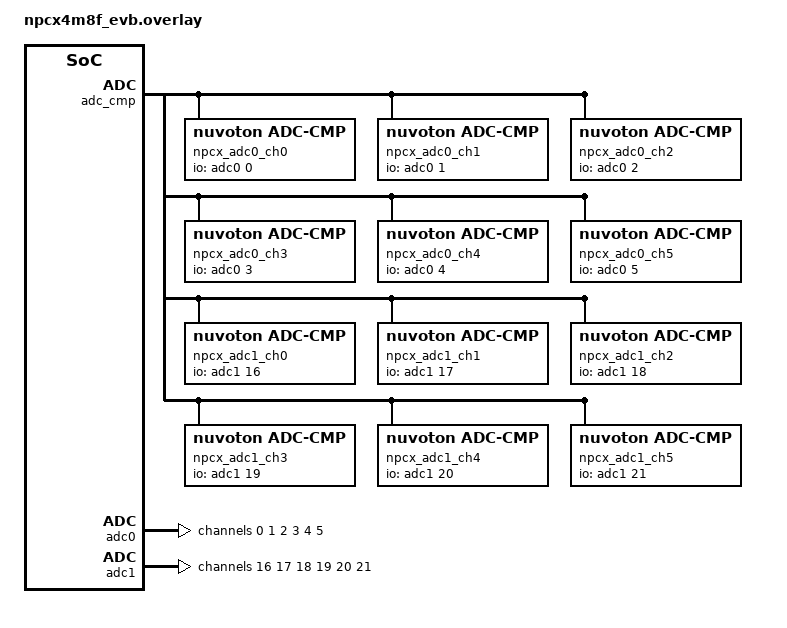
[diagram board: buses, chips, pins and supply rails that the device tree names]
/*
 * Copyright (c) 2023 Nuvoton Technology Corporation.
 *
 * SPDX-License-Identifier: Apache-2.0
 */

/ {
	chosen {
		zephyr,shell-uart = &uart1;
	};
};

/ {
	adc_cmp {
		npcx_adc0_ch0: adc0_ch0_cmp {
			compatible = "nuvoton,adc-cmp";
			io-channels = <&adc0 0>;
			comparison = "ADC_CMP_NPCX_GREATER";
			threshold-mv = <1800>;
			thr-sel = <0>;
		};
		npcx_adc0_ch1: adc0_ch1_cmp {
			compatible = "nuvoton,adc-cmp";
			io-channels = <&adc0 1>;
			comparison = "ADC_CMP_NPCX_GREATER";
			threshold-mv = <1800>;
			thr-sel = <1>;
		};
		npcx_adc0_ch2: adc0_ch2_cmp {
			compatible = "nuvoton,adc-cmp";
			io-channels = <&adc0 2>;
			comparison = "ADC_CMP_NPCX_GREATER";
			threshold-mv = <1800>;
			thr-sel = <2>;
		};
		npcx_adc0_ch3: adc0_ch3_cmp {
			compatible = "nuvoton,adc-cmp";
			io-channels = <&adc0 3>;
			comparison = "ADC_CMP_NPCX_GREATER";
			threshold-mv = <1800>;
			thr-sel = <3>;
		};
		npcx_adc0_ch4: adc0_ch4_cmp {
			compatible = "nuvoton,adc-cmp";
			io-channels = <&adc0 4>;
			comparison = "ADC_CMP_NPCX_GREATER";
			threshold-mv = <1800>;
			thr-sel = <4>;
		};
		npcx_adc0_ch5: adc0_ch5_cmp {
			compatible = "nuvoton,adc-cmp";
			io-channels = <&adc0 5>;
			comparison = "ADC_CMP_NPCX_GREATER";
			threshold-mv = <1800>;
			thr-sel = <5>;
		};
		npcx_adc1_ch0: adc1_ch0_cmp {
			compatible = "nuvoton,adc-cmp";
			io-channels = <&adc1 16>;
			comparison = "ADC_CMP_NPCX_LESS_OR_EQUAL";
			threshold-mv = <1800>;
			thr-sel = <0>;
		};
		npcx_adc1_ch1: adc1_ch1_cmp {
			compatible = "nuvoton,adc-cmp";
			io-channels = <&adc1 17>;
			comparison = "ADC_CMP_NPCX_LESS_OR_EQUAL";
			threshold-mv = <1800>;
			thr-sel = <1>;
		};
		npcx_adc1_ch2: adc1_ch2_cmp {
			compatible = "nuvoton,adc-cmp";
			io-channels = <&adc1 18>;
			comparison = "ADC_CMP_NPCX_LESS_OR_EQUAL";
			threshold-mv = <1800>;
			thr-sel = <2>;
		};
		npcx_adc1_ch3: adc1_ch3_cmp {
			compatible = "nuvoton,adc-cmp";
			io-channels = <&adc1 19>;
			comparison = "ADC_CMP_NPCX_LESS_OR_EQUAL";
			threshold-mv = <1800>;
			thr-sel = <3>;
		};
		npcx_adc1_ch4: adc1_ch4_cmp {
			compatible = "nuvoton,adc-cmp";
			io-channels = <&adc1 20>;
			comparison = "ADC_CMP_NPCX_LESS_OR_EQUAL";
			threshold-mv = <1800>;
			thr-sel = <4>;
		};
		npcx_adc1_ch5: adc1_ch5_cmp {
			compatible = "nuvoton,adc-cmp";
			io-channels = <&adc1 21>;
			comparison = "ADC_CMP_NPCX_LESS_OR_EQUAL";
			threshold-mv = <1800>;
			thr-sel = <5>;
		};
	};
};

&adc0 {
	#address-cells = <1>;
	#size-cells = <0>;

	status = "okay";
	/* Use adc0 channel 0~5 for 'adc_api' driver tests */
	pinctrl-0 = <&adc0_chan0_gp45
		     &adc0_chan1_gp44
		     &adc0_chan2_gp43
		     &adc0_chan3_gp42
		     &adc0_chan4_gp41
		     &adc0_chan5_gp37>;

	pinctrl-names = "default";

	channel@0 {
		reg = <0>;
		zephyr,gain = "ADC_GAIN_1";
		zephyr,reference = "ADC_REF_INTERNAL";
		zephyr,vref-mv = <2816>;
		zephyr,acquisition-time = <ADC_ACQ_TIME_DEFAULT>;
		zephyr,resolution = <10>;
	};
	channel@1 {
		reg = <1>;
		zephyr,gain = "ADC_GAIN_1";
		zephyr,reference = "ADC_REF_INTERNAL";
		zephyr,vref-mv = <2816>;
		zephyr,acquisition-time = <ADC_ACQ_TIME_DEFAULT>;
		zephyr,resolution = <10>;
	};
	channel@2 {
		reg = <2>;
		zephyr,gain = "ADC_GAIN_1";
		zephyr,reference = "ADC_REF_INTERNAL";
		zephyr,vref-mv = <2816>;
		zephyr,acquisition-time = <ADC_ACQ_TIME_DEFAULT>;
		zephyr,resolution = <10>;
	};
	channel@3 {
		reg = <3>;
		zephyr,gain = "ADC_GAIN_1";
		zephyr,reference = "ADC_REF_INTERNAL";
		zephyr,vref-mv = <2816>;
		zephyr,acquisition-time = <ADC_ACQ_TIME_DEFAULT>;
		zephyr,resolution = <10>;
	};
	channel@4 {
		reg = <4>;
		zephyr,gain = "ADC_GAIN_1";
		zephyr,reference = "ADC_REF_INTERNAL";
		zephyr,vref-mv = <2816>;
		zephyr,acquisition-time = <ADC_ACQ_TIME_DEFAULT>;
		zephyr,resolution = <10>;
	};
	channel@5 {
		reg = <5>;
		zephyr,gain = "ADC_GAIN_1";
		zephyr,reference = "ADC_REF_INTERNAL";
		zephyr,vref-mv = <2816>;
		zephyr,acquisition-time = <ADC_ACQ_TIME_DEFAULT>;
		zephyr,resolution = <10>;
	};
};


&adc1 {
	#address-cells = <1>;
	#size-cells = <0>;

	status = "okay";
	/* Use adc1 channel 16 ~ 21 for 'adc_api' driver tests */
	pinctrl-0 = <&adc0_chan16_gp62
		     &adc0_chan17_gp63
		     &adc0_chan18_gp67
		     &adc0_chan19_gp70
		     &adc0_chan20_gp22
		     &adc0_chan21_gp23>;

	pinctrl-names = "default";

	channel@10 {
		reg = <16>;
		zephyr,gain = "ADC_GAIN_1";
		zephyr,reference = "ADC_REF_INTERNAL";
		zephyr,vref-mv = <3300>;
		zephyr,acquisition-time = <ADC_ACQ_TIME_DEFAULT>;
		zephyr,resolution = <10>;
	};
	channel@11 {
		reg = <17>;
		zephyr,gain = "ADC_GAIN_1";
		zephyr,reference = "ADC_REF_INTERNAL";
		zephyr,vref-mv = <3300>;
		zephyr,acquisition-time = <ADC_ACQ_TIME_DEFAULT>;
		zephyr,resolution = <10>;
	};
	channel@12 {
		reg = <18>;
		zephyr,gain = "ADC_GAIN_1";
		zephyr,reference = "ADC_REF_INTERNAL";
		zephyr,vref-mv = <3300>;
		zephyr,acquisition-time = <ADC_ACQ_TIME_DEFAULT>;
		zephyr,resolution = <10>;
	};
	channel@13 {
		reg = <19>;
		zephyr,gain = "ADC_GAIN_1";
		zephyr,reference = "ADC_REF_INTERNAL";
		zephyr,vref-mv = <3300>;
		zephyr,acquisition-time = <ADC_ACQ_TIME_DEFAULT>;
		zephyr,resolution = <10>;
	};
	channel@14 {
		reg = <20>;
		zephyr,gain = "ADC_GAIN_1";
		zephyr,reference = "ADC_REF_INTERNAL";
		zephyr,vref-mv = <3300>;
		zephyr,acquisition-time = <ADC_ACQ_TIME_DEFAULT>;
		zephyr,resolution = <10>;
	};
	channel@15 {
		reg = <21>;
		zephyr,gain = "ADC_GAIN_1";
		zephyr,reference = "ADC_REF_INTERNAL";
		zephyr,vref-mv = <3300>;
		zephyr,acquisition-time = <ADC_ACQ_TIME_DEFAULT>;
		zephyr,resolution = <10>;
	};
};
